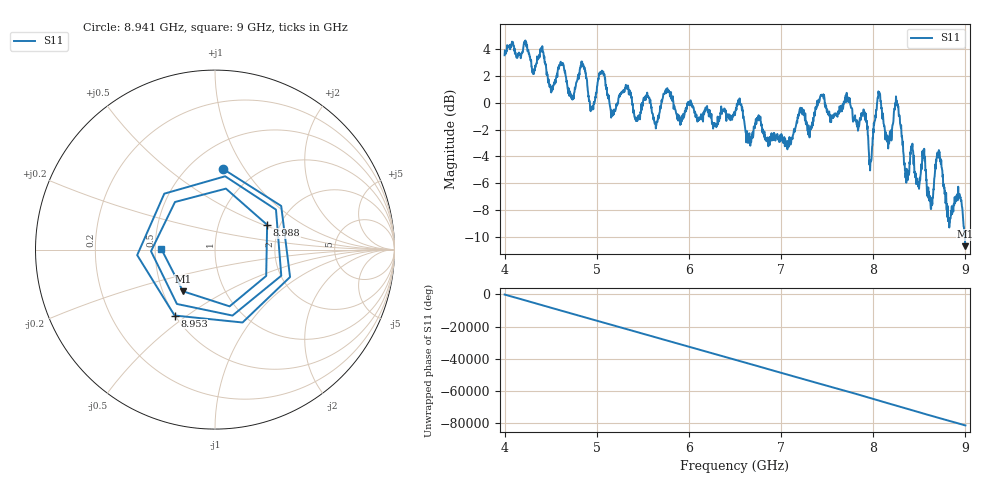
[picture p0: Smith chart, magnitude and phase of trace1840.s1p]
! Created with skrf 1.8.0 (http://scikit-rf.org).
# Hz S RI R 50.0
!freq ReS11 ImS11
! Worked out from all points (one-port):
!   1601 points, 4 GHz to 9 GHz, reference 50 ohm
!   lowest |S11| = -10.7 dB at 8.997 GHz (marker M1), VSWR 1.83, Z = 31.7 - j16.1 ohm
!   |S11| at or under -10 dB: 8.994879 GHz to end of sweep
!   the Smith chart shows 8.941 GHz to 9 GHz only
!   S11 on the Smith chart (normalised r, x): 8.941 GHz: 0.71, +0.81; 8.953 GHz: 0.50, -0.45; 8.988 GHz: 1.72, +0.53; 9 GHz: 0.54, +0.00
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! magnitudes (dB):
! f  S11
! 4 GHz  3.5
! 4.406 GHz  4.0
! 4.506 GHz  0.8
! 4.625 GHz  2.8
! 4.728 GHz  0.5
! 4.85 GHz  2.9
! 4.941 GHz  -0.4
! 5.047 GHz  2.2
! 5.169 GHz  -0.9
! 5.25 GHz  0.5
! 5.875 GHz  -1.2
! 6.5 GHz  -0.9
! 7.125 GHz  -2.7
! 7.75 GHz  -0.1
! 7.972 GHz  -4.4
! 8.056 GHz  0.8
! 8.153 GHz  -2.9
! 8.256 GHz  0.1
! 8.375 GHz  -5.8
! 8.547 GHz  -4.1
! 8.625 GHz  -7.9
! 8.712 GHz  -3.5
! 8.822 GHz  -8.6
! 8.941 GHz  -6.9
! 8.953 GHz  -7.3
! 8.988 GHz  -9.9
! 8.997 GHz  -10.7
! 9 GHz  -10.5
